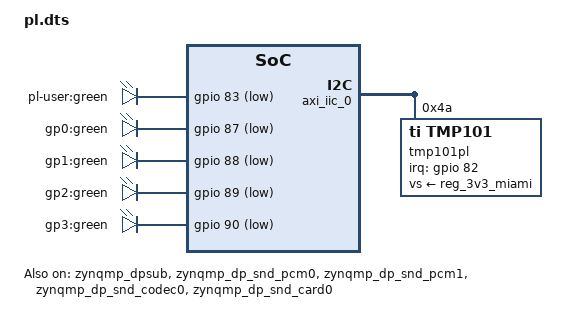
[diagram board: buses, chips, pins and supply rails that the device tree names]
/* Overlay devicetree for the programmable logic part */
/dts-v1/;
/plugin/;

#include <dt-bindings/clock/xlnx-zynqmp-clk.h>
#include <dt-bindings/gpio/gpio.h>
#include <dt-bindings/input/input.h>
#include <dt-bindings/interrupt-controller/irq.h>

/ {
	/* This fragment causes the FPGA image to load */
	fragment@0 {
		target = <&fpga_full>;
		__overlay__ {
			firmware-name = "fpga.bin.@BITSTREAM@";
		};
	};

	/* User LEDs */
	fragment@1 {
		target-path = "/";
		__overlay__ {
			leds-pl {
				compatible = "gpio-leds";
				user_led_1 {
					label = "pl-user:green";
					gpios = <&gpio 83 GPIO_ACTIVE_LOW>; /* EMIO 5 */
					/* Located on SoM, the QSPI NOR flash is also on the SoM */
					linux,default-trigger = "mtd";
				};
				gp-led-0 {
					label = "gp0:green";
					gpios = <&gpio 87 GPIO_ACTIVE_LOW>; /* EMIO 9 */
					linux,default-trigger = "disk-activity"; /* Blink when NVME disk is working */
				};
				gp-led-1 {
					label = "gp1:green";
					gpios = <&gpio 88 GPIO_ACTIVE_LOW>; /* EMIO 10 */
					linux,default-trigger = "mmc1"; /* SD card activity */
				};
				gp-led-2 {
					label = "gp2:green";
					gpios = <&gpio 89 GPIO_ACTIVE_LOW>; /* EMIO 11 */
				};
				gp-led-3 {
					label = "gp3:green";
					gpios = <&gpio 90 GPIO_ACTIVE_LOW>; /* EMIO 12 */
					linux,default-trigger = "bluetooth-power";
				};
			};
		};
	};

	fragment@2 {
		target = <&amba>;
		__overlay__ {
			#address-cells = <2>;
			#size-cells = <2>;
			interrupt-parent = <&gic>;

			 /* temperature sensor on i2c Uses lm75 hwmon driver */
			axi_iic_0: i2c@80009000 {
				#address-cells = <1>;
				#size-cells = <0>;
				clock-names = "s_axi_aclk";
				clocks = <&zynqmp_clk PL0_REF>;
				compatible = "xlnx,axi-iic-2.0", "xlnx,xps-iic-2.00.a";
				interrupt-names = "iic2intc_irpt";
				interrupt-parent = <&gic>;
				interrupts = <0 89 4>;
				reg = <0x0 0x80009000 0x0 0x1000>;

				tmp101pl: sensor@4a{
					compatible = "ti,tmp101";
					reg = <0x4a>;
					vs-supply = <&reg_3v3_miami>;
					/* Interrupt not actually used by driver */
					interrupt-parent = <&gpio>;
					interrupts = <82 IRQ_TYPE_LEVEL_LOW>; /* EMIO 4 */
				};
			};

			pl_fan_controller: fan-controller@8000a000 {
				compatible = "topic,axi-pwm-fan-controller";
				reg = <0x0 0x8000a000 0x0 0x1000>;
				nr-fans = <1>;
				clocks = <&zynqmp_clk PL0_REF>;
				topic,initial-pwm = <100>; /* Run at 40% */
				/* Interrupt connected but not actually used in driver */
				interrupt-parent = <&gpio>;
				interrupts = <90 IRQ_TYPE_EDGE_BOTH>; /* EMIO 12 */
			};
		};
	};

	/* DisplayPort - partially routed over EMIO, so needs to wait for PL */
	fragment@3 {
		target = <&zynqmp_dpsub>;
		__overlay__ {
			status = "okay";
		};
	};
	fragment@4 {
		target = <&zynqmp_dp_snd_pcm0>;
		__overlay__ {
			status = "okay";
		};
	};
	fragment@5 {
		target = <&zynqmp_dp_snd_pcm1>;
		__overlay__ {
			status = "okay";
		};
	};
	fragment@6 {
		target = <&zynqmp_dp_snd_codec0>;
		__overlay__ {
			status = "okay";
		};
	};
	fragment@7 {
		target = <&zynqmp_dp_snd_card0>;
		__overlay__ {
			status = "okay";
		};
	};
};
